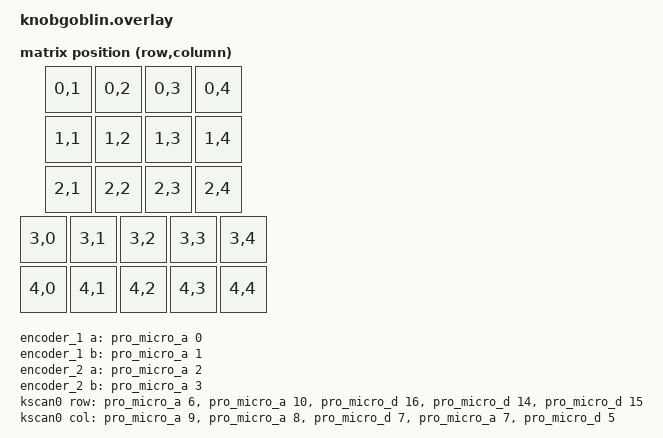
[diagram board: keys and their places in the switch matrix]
#include <dt-bindings/zmk/matrix_transform.h>

/ {
    chosen {
        zmk,kscan = &kscan0;
        zmk,matrix_transform = &default_transform;
    };

    encoder_1: encoder_1 {
        compatible = "alps,ec11";
        label = "Encoder 1";
        a-gpios = <&pro_micro_a 0 (GPIO_ACTIVE_HIGH | GPIO_PULL_UP)>;
        b-gpios = <&pro_micro_a 1 (GPIO_ACTIVE_HIGH | GPIO_PULL_UP)>;
        resolution = <4>;
        status = "okay";
    };

    encoder_2: encoder_2 {
        compatible = "alps,ec11";
        label = "Encoder 2";
        a-gpios = <&pro_micro_a 2 (GPIO_ACTIVE_HIGH | GPIO_PULL_UP)>;
        b-gpios = <&pro_micro_a 3 (GPIO_ACTIVE_HIGH | GPIO_PULL_UP)>;
        resolution = <4>;
        status = "okay";
    };

    kscan0: kscan_0 {
        compatible = "zmk,kscan-gpio-matrix";
        label = "KSCAN";
        diode-direction = "col2row";

        row-gpios
            = <&pro_micro_a 6 (GPIO_ACTIVE_HIGH | GPIO_PULL_DOWN)>
            , <&pro_micro_a 10 (GPIO_ACTIVE_HIGH | GPIO_PULL_DOWN)>
            , <&pro_micro_d 16 (GPIO_ACTIVE_HIGH | GPIO_PULL_DOWN)>
            , <&pro_micro_d 14 (GPIO_ACTIVE_HIGH | GPIO_PULL_DOWN)>
            , <&pro_micro_d 15 (GPIO_ACTIVE_HIGH | GPIO_PULL_DOWN)>
            ;

        col-gpios
            = <&pro_micro_a 9 GPIO_ACTIVE_HIGH>
            , <&pro_micro_a 8 GPIO_ACTIVE_HIGH>
            , <&pro_micro_d 7 GPIO_ACTIVE_HIGH>
            , <&pro_micro_a 7 GPIO_ACTIVE_HIGH>
            , <&pro_micro_d 5 GPIO_ACTIVE_HIGH>
            ;
    };

    default_transform: keymap_transform_0 {
        compatible = "zmk,matrix-transform";
        columns = <8>;
        rows = <8>;
        map = <
            RC(0,1)  RC(0,2)  RC(0,3) RC(0,4)
            RC(1,1)  RC(1,2)  RC(1,3) RC(1,4)
            RC(2,1)  RC(2,2)  RC(2,3) RC(2,4)
        RC(3,0)  RC(3,1)  RC(3,2)  RC(3,3)  RC(3,4)
        RC(4,0)  RC(4,1)  RC(4,2)  RC(4,3)  RC(4,4)
        >;
    };
};

&pro_micro_i2c {
    status = "okay";

	oled: ssd1306@3c {
		compatible = "solomon,ssd1306fb";
		reg = <0x3c>;
		label = "DISPLAY";
		width = <128>;
		height = <32>;
		segment-offset = <0>;
		page-offset = <0>;
		display-offset = <0>;
		multiplex-ratio = <31>;
		com-sequential;
		prechargep = <0x22>;
	};
};
